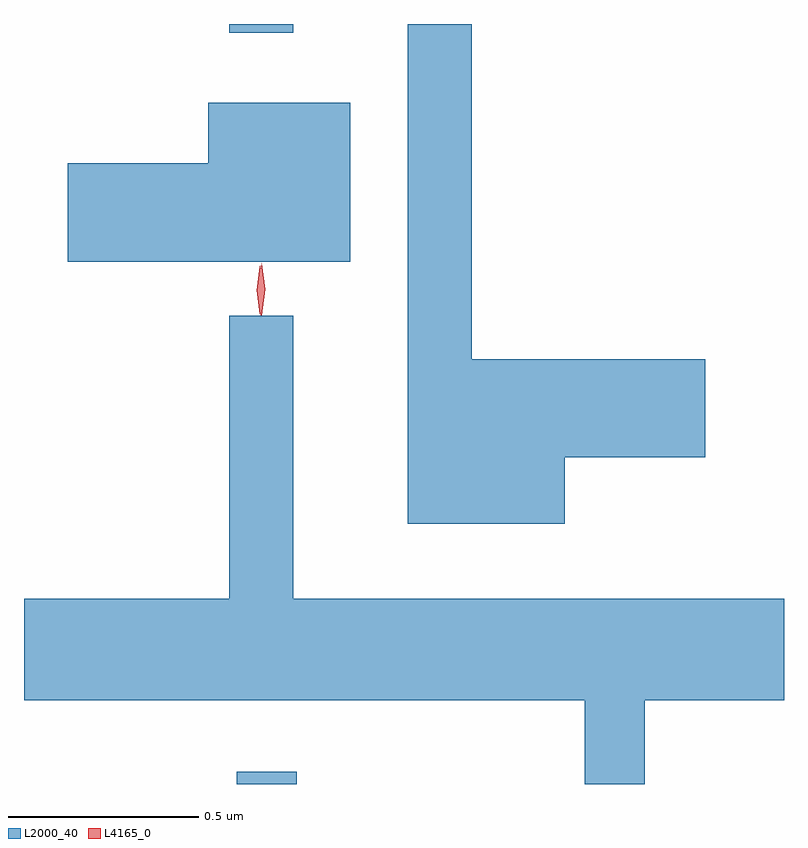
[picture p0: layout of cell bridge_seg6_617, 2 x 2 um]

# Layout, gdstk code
import gdstk
lib = gdstk.Library(unit=1e-6, precision=1e-09)
def R(c, l, rs):  # rectangles x0, y0, x1, y1
    for r in rs: c.add(gdstk.rectangle(r[:2], r[2:], *l))
def P(c, l, *ps):  # polygons
    for p in ps: c.add(gdstk.Polygon(p, *l))
L2000_40 = (2000, 40)
L4165_0 = (4165, 0)

bridge_seg6_617 = lib.new_cell('bridge_seg6_617')
R(bridge_seg6_617, L2000_40, [(473.261,1603.096,473.419,1603.128), (473.241,1605.073,473.409,1605.096)])
P(bridge_seg6_617, L2000_40, [(474.124,1603.956),(474.494,1603.956),(474.494,1604.214),(473.879,1604.214),(473.879,1605.096),(473.711,1605.096),(473.711,1603.781),(474.124,1603.781)],
  [(473.559,1604.889),(473.186,1604.889),(473.186,1604.729),(472.816,1604.729),(472.816,1604.471),(473.559,1604.471)],
  [(474.334,1603.316),(474.701,1603.316),(474.701,1603.584),(473.409,1603.584),(473.409,1604.328),(473.241,1604.328),(473.241,1603.584),(472.701,1603.584),(472.701,1603.316),(474.176,1603.316),(474.176,1603.096),(474.334,1603.096)])
P(bridge_seg6_617, L4165_0, [(473.324,1604.33),(473.316,1604.398),(473.326,1604.465),(473.327,1604.466),(473.327,1604.465),(473.336,1604.398),(473.326,1604.33),(473.325,1604.33)],
  [(473.322,1604.333),(473.313,1604.396),(473.322,1604.459),(473.323,1604.46),(473.323,1604.459),(473.333,1604.396),(473.323,1604.333),(473.323,1604.333)])

lib.write_gds('bridge_seg6_617.gds')
